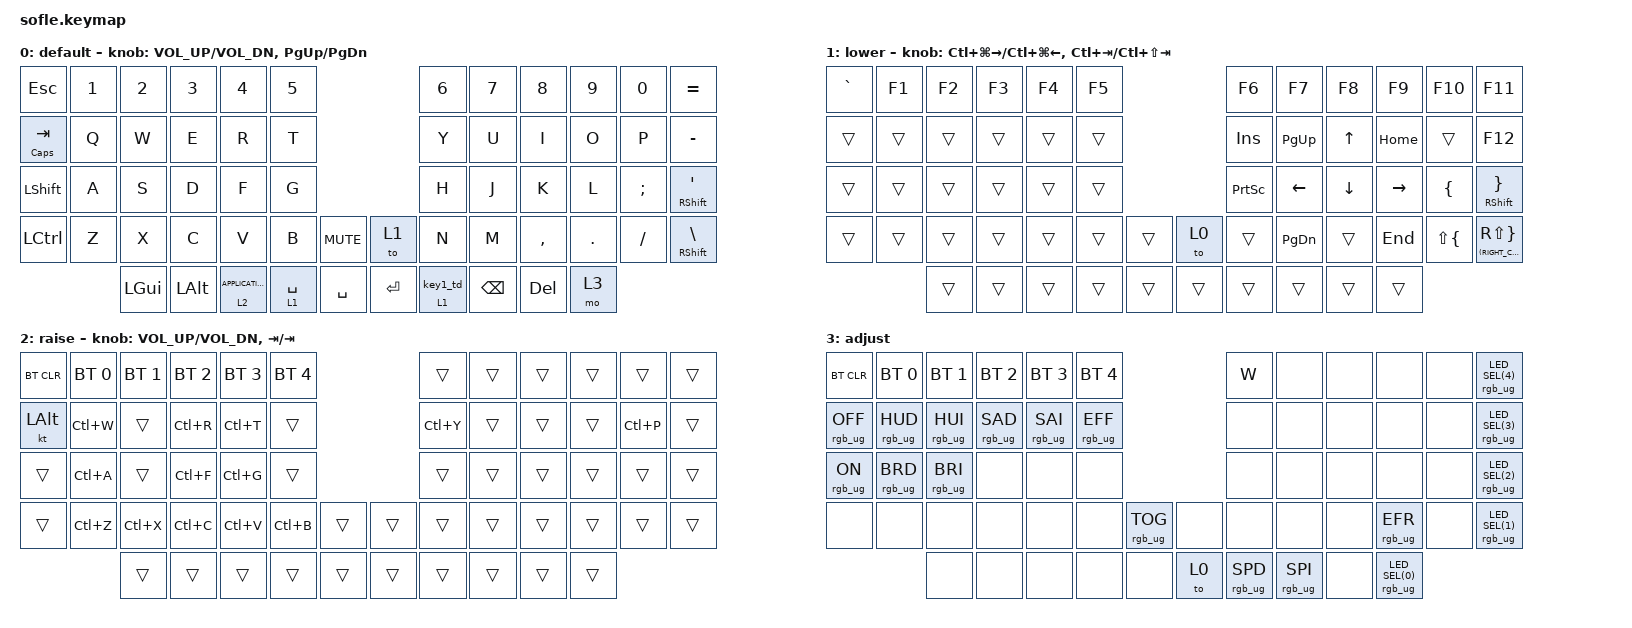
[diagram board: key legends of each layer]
/*
 * Copyright (c) 2020 The ZMK Contributors
 *
 * SPDX-License-Identifier: MIT
 */

#include <dt-bindings/zmk/modifiers.h>
#include <behaviors.dtsi>
#include <dt-bindings/zmk/bt.h>
#include <dt-bindings/zmk/ext_power.h>
#include <dt-bindings/zmk/keys.h>
#include <dt-bindings/zmk/rgb.h>

#define BASE 0
#define LOWER 1
#define RAISE 2
#define ADJUST 3

// Override &mt/&lt phai nam NGOAI / { } block (devicetree syntax)
&mt {
    tapping-term-ms = <300>;
};

&lt {
    tapping-term-ms = <300>;
};

/ {
    // (09/07) DA XOA conditional_layers tri-layer: listener cua no tu dong
    // tat ADJUST moi khi lower+raise khong duoc giu → "mo 3/to 3 truc tiep"
    // khong the ton tai. Nhap adjust bay gio chi con 1 cach: HOLD phim
    // ngoai cung phai (&mo 3). Chord 2-thumb-trai da bo — mo 3 thay the.

    // ==== Thumb phai (23/08 v3): key1 = HT NGOAI + TD TRONG ====
    // Da te ban cu (TD ngoai HT trong): TD khong capture phim khac khi
    // undecided → phim khac bam trong 300ms dau duoc keymap xu ly o
    // DEFAULT layer (PC nhan phim don) —.ht moi chiu capture milliseconds
    // sau thi mo layer → sai thu tu.
    // Dung chuan: HT NGOAI (undecided_hold_tap giam phim khac trong
    // captured_events[], replay sau khi mo LOWER) + TD TRONG lam tap-binding:
    //   giu >= 300ms hoac giu + phim khac  → mo 1 (combo tren lower)
    //   1 tap nhanh                        → to 0 (ve default)
    //   2 tap nhanh lien tiep              → to 1 (khoa lower)
    // (pattern = &lt cu cua ZMK — moi them khau dem tap o phan tap)
    behaviors {
        key1_td: key1_tap_dance {
            compatible = "zmk,behavior-tap-dance";
            #binding-cells = <0>;
            tapping-term-ms = <300>;
            // 3 cap (09/07): 1 click ve default, 2 click lower,
            // 3 click raise (click cuoi decide ngay, khong cho timeout)
            bindings = <&to 0>, <&to 1>, <&to 2>;
        };

        key1_ht: key1_hold_tap {
            compatible = "zmk,behavior-hold-tap";
            #binding-cells = <2>;
            tapping-term-ms = <300>;
            quick-tap-ms = <0>;
            flavor = "hold-preferred";
            // hold = mo LOWER (param1 tu cho goi); tap = TD 3 cap.
            // Param2 (cho TD) = 0 bi TD ignore (TD zero-param)
            bindings = <&mo>, <&key1_td>;
        };
    };

    keymap {
        compatible = "zmk,keymap";

        default_layer {
            label = "default";

            // ------------------------------------------------------------------------------------------------------------
            // |   `   |  1  |  2  |  3   |  4   |  5   |                   |  6   |  7    |  8    |  9   |   0   |       |
            // |  ESC  |  Q  |  W  |  E   |  R   |  T   |                   |  Y   |  U    |  I    |  O   |   P   | BKSPC |
            // |  TAB  |  A  |  S  |  D   |  F   |  G   |                   |  H   |  J    |  K    |  L   |   ;   |   '   |
            // | SHIFT |  Z  |  X  |  C   |  V   |  B   |  MUTE  |  |       |  N   |  M    |  ,    |  .   |   /   | SHIFT |
            //               | GUI | ALT  | CTRL | LOWER|  ENTER |  | SPACE | RAISE| CTRL  | ALT   | GUI  |

            bindings = <
&kp ESC       &kp N1  &kp N2        &kp N3    &kp N4               &kp N5                              &kp N6           &kp N7   &kp N8     &kp N9   &kp N0    &kp EQUAL
&mt CAPS TAB  &kp Q   &kp W         &kp E     &kp R                &kp T                               &kp Y            &kp U    &kp I      &kp O    &kp P     &kp MINUS
&kp LSHFT     &kp A   &kp S         &kp D     &kp F                &kp G                               &kp H            &kp J    &kp K      &kp L    &kp SEMI  &mt RIGHT_SHIFT APOS
&kp LCTRL     &kp Z   &kp X         &kp C     &kp V                &kp B        &kp C_MUTE    &to 1    &kp N            &kp M    &kp COMMA  &kp DOT  &kp FSLH  &mt RIGHT_SHIFT BACKSLASH
                      &kp LEFT_GUI  &kp LALT  &lt 2 K_APPLICATION  &lt 1 SPACE  &kp SPACE     &kp RET  &key1_ht 1 0     &kp BSPC  &kp DEL  &mo 3
            >;

            sensor-bindings = <&inc_dec_kp C_VOL_UP C_VOL_DN &inc_dec_kp PG_UP PG_DN>;
        };

        lower_layer {
            label = "lower";

            // Bản đồ: ` Grave/Tilde | hàng 1 = F1-F11 | phải: Ins Home PgUp ↑ / PrSc ← ↓ → { Shift
            //         hàng 4 phải: PgDn / End. Phím cuối = trans (rơi về mt RSHFT BSLH)
            // Sensor-bindings giữ nguyên: trái virtual desktop, phải Ctrl+Tab.

            bindings = <
&kp GRAVE  &kp F1  &kp F2  &kp F3  &kp F4  &kp F5                    &kp F6     &kp F7         &kp F8    &kp F9     &kp F10             &kp F11
&trans     &trans  &trans  &trans  &trans  &trans                    &kp INS    &kp PG_UP      &kp UP    &kp HOME   &trans              &kp F12
&trans  &trans  &trans  &trans  &trans  &trans                    &kp PSCRN  &kp LEFT       &kp DOWN  &kp RIGHT  &kp LBRC            &mt RSHFT RIGHT_BRACE
&trans  &trans  &trans  &trans  &trans  &trans  &trans    &to 0   &trans     &kp PAGE_DOWN  &trans    &kp END    &kp LS(LEFT_BRACE)  &mt (RIGHT_CONTROL) RS(RIGHT_BRACE)
                &trans  &trans  &trans  &trans  &trans    &trans  &trans     &trans         &trans    &trans
            >;

            // Encoder trai: Ctrl+Win+mui ten = chuyen Virtual Desktop Windows
            // Encoder phai: Ctrl+Tab / Ctrl+Shift+Tab = chuyen tab browser

            sensor-bindings = <&inc_dec_kp LC(LG(RIGHT)) LC(LG(LEFT)) &inc_dec_kp LC(TAB) LC(LS(TAB))>;
        };

        raise_layer {
            label = "raise";

            // Layer PHÍM TẮT: phím giữ đúng chữ của shortcut gốc (C = Ctrl+C...)
            // Q slot = &kt LALT (Alt-Tab mode): nhấn 1 lần latch Alt → xoay encoder
            // phải (Tab) duyệt switcher → Enter chốt → nhấn lại Q để nhả Alt.
            // Trái hàng 2: W=tắt tab T=tab mới R=reload | Phải: Y=redo P=print
            // Home: A=chọn hết F=tìm G=tìm tiếp
            // Hàng 4: Z=undo X=cut C=copy V=paste B=bold
            // Không shortcut phổ quát → &trans (rơi về base)
            // Hàng BT giữ nguyên. Encoder trái: volume. Encoder phải: TAB (Alt-Tab mode).

            bindings = <
&bt BT_CLR  &bt BT_SEL 0  &bt BT_SEL 1  &bt BT_SEL 2  &bt BT_SEL 3  &bt BT_SEL 4                    &trans        &trans     &trans     &trans      &trans      &trans
&kt LALT    &kp LC(W)     &trans        &kp LC(R)     &kp LC(T)     &trans                          &kp LC(Y)     &trans     &trans     &trans      &kp LC(P)   &trans
&trans      &kp LC(A)     &trans        &kp LC(F)     &kp LC(G)     &trans                          &trans        &trans     &trans     &trans      &trans      &trans
&trans      &kp LC(Z)     &kp LC(X)     &kp LC(C)     &kp LC(V)     &kp LC(B)   &trans      &trans  &trans        &trans     &trans     &trans      &trans      &trans
                          &trans        &trans        &trans        &trans        &trans    &trans  &trans        &trans     &trans     &trans
            >;

            sensor-bindings = <&inc_dec_kp C_VOL_UP C_VOL_DN &inc_dec_kp TAB TAB>;
        };

        adjust_layer {
            // ----------------------------------------------------------------------------------------------------------------------------
            // | BTCLR  |  BT1    |  BT2    |   BT3   |   BT4   |   BT5   |                  |      |      |       |      |       |       |
            // | RGB_OFF | RGB_HUD | RGB_HUI | RGB_SAD | RGB_SAI | RGB_EFF |                  |      |      |       |      |       |       |
            // | RGB_ON  | RGB_BRD | RGB_BRI |         |         |         |                  |      |      |       |      |       |       |
            // |        |         |         |         |         |         | RGB_TOG | |      |      |      |       |      |       |       |
            //                    |         |         |         |         |         | |      |      | SPD  |  SPI | EFR  |  (phải hàng thumb: to0 + 3 phím tốc độ LED) |
            // (16/09 DA BO &ext_power EP_TOG: OLED + LED cung rail EXT — cat nguon
            //  giua chung = OLED mat init, man den ngam toi restart. Thay bang
            //  RGB_OFF/RGB_ON an toan — chi tac dong den LED.)

            label = "adjust";
            bindings = <
&bt BT_CLR         &bt BT_SEL 0     &bt BT_SEL 1     &bt BT_SEL 2     &bt BT_SEL 3     &bt BT_SEL 4                               &kp W  &none  &none  &none  &none  &rgb_ug RGB_LED_SEL(4)
&rgb_ug RGB_OFF    &rgb_ug RGB_HUD  &rgb_ug RGB_HUI  &rgb_ug RGB_SAD  &rgb_ug RGB_SAI  &rgb_ug RGB_EFF                            &none  &none  &none  &none  &none  &rgb_ug RGB_LED_SEL(3)
&rgb_ug RGB_ON     &rgb_ug RGB_BRD  &rgb_ug RGB_BRI  &none            &none            &none                                      &none  &none  &none  &none  &none  &rgb_ug RGB_LED_SEL(2)
&none              &none            &none            &none            &none            &none            &rgb_ug RGB_TOG    &none  &none  &none  &none  &rgb_ug RGB_EFR  &none  &rgb_ug RGB_LED_SEL(1)
                                    &none            &none            &none            &none            &none              &to 0  &rgb_ug RGB_SPD  &rgb_ug RGB_SPI  &none  &rgb_ug RGB_LED_SEL(0)
            >;

            // ==== PER-LED SELECT (16/09 v4) — bấm phím có LED để chọn LED đó ====
            // Vị trí LED: LED0 = THUMB ngoài cùng phải (hàng dưới cùng, màu
            // theo layer); LED1-4 = cột NGOÀI CÙNG phải 4 hàng chính, đánh
            // số TỪ DƯỚI LÊN (hàng 4/⇧ = LED1, hàng 3/' = LED2, hàng 4/- =
            // LED3, hàng 1/= = LED4).
            // Trong adjust, cột ngoài cùng phải = chính các phím đó:
            //   thumb ngoài cùng = LED0 | hàng ⇧\ = LED1 | hàng /' = LED2
            //   hàng ;-= LED3   | hàng P== = LED4
            // Sau khi chọn: W/E hue, R/T sat, A/S brightness — chỉ LED đó.
            // Selection TẠM (restart về LED0); màu LED1-4 lưu flash.
            // EFR dời vào hàng 4 cột FSLH (kề LED_SEL(1)).
        };
    };
};
